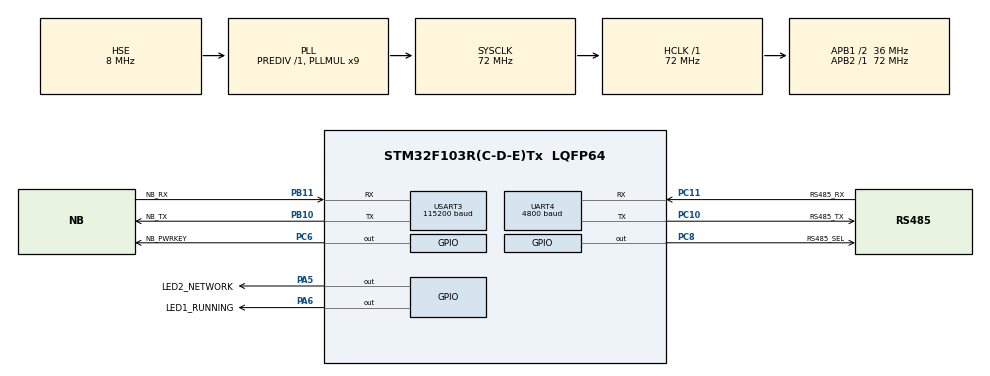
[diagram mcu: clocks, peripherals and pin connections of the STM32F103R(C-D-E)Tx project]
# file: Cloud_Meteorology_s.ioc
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Dma.Request0=UART4_RX
Dma.Request1=UART4_TX
Dma.Request2=USART3_RX
Dma.Request3=USART3_TX
Dma.UART4_RX.0.Direction=DMA_PERIPH_TO_MEMORY
Dma.UART4_RX.0.Instance=DMA2_Channel3
Dma.UART4_RX.0.MemDataAlignment=DMA_MDATAALIGN_BYTE
Dma.UART4_RX.0.MemInc=DMA_MINC_ENABLE
Dma.UART4_RX.0.Mode=DMA_CIRCULAR
Dma.UART4_RX.0.PeriphDataAlignment=DMA_PDATAALIGN_BYTE
Dma.UART4_RX.0.PeriphInc=DMA_PINC_DISABLE
Dma.UART4_RX.0.Priority=DMA_PRIORITY_LOW
Dma.UART4_TX.1.Direction=DMA_MEMORY_TO_PERIPH
Dma.UART4_TX.1.Instance=DMA2_Channel5
Dma.UART4_TX.1.MemDataAlignment=DMA_MDATAALIGN_BYTE
Dma.UART4_TX.1.MemInc=DMA_MINC_ENABLE
Dma.UART4_TX.1.Mode=DMA_NORMAL
Dma.UART4_TX.1.PeriphDataAlignment=DMA_PDATAALIGN_BYTE
Dma.UART4_TX.1.PeriphInc=DMA_PINC_DISABLE
Dma.UART4_TX.1.Priority=DMA_PRIORITY_LOW
Dma.USART3_RX.2.Direction=DMA_PERIPH_TO_MEMORY
Dma.USART3_RX.2.Instance=DMA1_Channel3
Dma.USART3_RX.2.MemDataAlignment=DMA_MDATAALIGN_BYTE
Dma.USART3_RX.2.MemInc=DMA_MINC_ENABLE
Dma.USART3_RX.2.Mode=DMA_CIRCULAR
Dma.USART3_RX.2.PeriphDataAlignment=DMA_PDATAALIGN_BYTE
Dma.USART3_RX.2.PeriphInc=DMA_PINC_DISABLE
Dma.USART3_RX.2.Priority=DMA_PRIORITY_LOW
Dma.USART3_TX.3.Direction=DMA_MEMORY_TO_PERIPH
Dma.USART3_TX.3.Instance=DMA1_Channel2
Dma.USART3_TX.3.MemDataAlignment=DMA_MDATAALIGN_BYTE
Dma.USART3_TX.3.MemInc=DMA_MINC_ENABLE
Dma.USART3_TX.3.Mode=DMA_NORMAL
Dma.USART3_TX.3.PeriphDataAlignment=DMA_PDATAALIGN_BYTE
Dma.USART3_TX.3.PeriphInc=DMA_PINC_DISABLE
Dma.USART3_TX.3.Priority=DMA_PRIORITY_LOW
IWDG.Prescaler=IWDG_PRESCALER_256
IWDG.Reload=4000
Mcu.Family=STM32F1
Mcu.Name=STM32F103R(C-D-E)Tx
Mcu.Package=LQFP64
NVIC.DMA1_Channel2_IRQn=true\:0\:0\:false\:false\:true\:false\:true
NVIC.DMA1_Channel3_IRQn=true\:0\:0\:false\:false\:true\:false\:true
NVIC.DMA2_Channel3_IRQn=true\:0\:0\:false\:false\:true\:false\:true
NVIC.DMA2_Channel4_5_IRQn=true\:0\:0\:false\:false\:true\:false\:true
NVIC.PriorityGroup=NVIC_PRIORITYGROUP_4
NVIC.TIM3_IRQn=true\:0\:0\:false\:false\:true\:true\:true
NVIC.TIM5_IRQn=true\:0\:0\:true\:false\:true\:true\:true
NVIC.UART4_IRQn=true\:0\:0\:false\:false\:true\:true\:true
NVIC.USART3_IRQn=true\:0\:0\:false\:false\:true\:true\:true
PA13.Mode=Serial_Wire
PA13.Signal=SYS_JTMS-SWDIO
PA14.Mode=Serial_Wire
PA14.Signal=SYS_JTCK-SWCLK
PA5.GPIO_Label=LED2_NETWORK
PA5.Signal=GPIO_Output
PA6.GPIO_Label=LED1_RUNNING
PA6.Signal=GPIO_Output
PB10.GPIO_Label=NB_TX
PB10.Mode=Asynchronous
PB10.Signal=USART3_TX
PB11.GPIO_Label=NB_RX
PB11.Mode=Asynchronous
PB11.Signal=USART3_RX
PC10.GPIO_Label=RS485_TX
PC10.Mode=Asynchronous
PC10.Signal=UART4_TX
PC11.GPIO_Label=RS485_RX
PC11.Mode=Asynchronous
PC11.Signal=UART4_RX
PC14-OSC32_IN.Mode=LSE-External-Oscillator
PC14-OSC32_IN.Signal=RCC_OSC32_IN
PC15-OSC32_OUT.Mode=LSE-External-Oscillator
PC15-OSC32_OUT.Signal=RCC_OSC32_OUT
PC6.GPIO_Label=NB_PWRKEY
PC6.Signal=GPIO_Output
PC8.GPIO_Label=RS485_SEL
PC8.Signal=GPIO_Output
PD0-OSC_IN.Mode=HSE-External-Oscillator
PD0-OSC_IN.Signal=RCC_OSC_IN
PD1-OSC_OUT.Mode=HSE-External-Oscillator
PD1-OSC_OUT.Signal=RCC_OSC_OUT
ProjectManager.HeapSize=0x200
ProjectManager.StackSize=0x400
ProjectManager.TargetToolchain=TrueSTUDIO
RCC.ADCPresc=RCC_ADCPCLK2_DIV6
RCC.AHBFreq_Value=72000000
RCC.APB1CLKDivider=RCC_HCLK_DIV2
RCC.APB1Freq_Value=36000000
RCC.APB1TimFreq_Value=72000000
RCC.APB2Freq_Value=72000000
RCC.APB2TimFreq_Value=72000000
RCC.HCLKFreq_Value=72000000
RCC.PLLMUL=RCC_PLL_MUL9
RCC.PLLSourceVirtual=RCC_PLLSOURCE_HSE
RCC.RTCClockSelection=RCC_RTCCLKSOURCE_LSE
RCC.SYSCLKFreq_VALUE=72000000
RCC.SYSCLKSource=RCC_SYSCLKSOURCE_PLLCLK
RCC.USBFreq_Value=72000000
RTC.Date=1
RTC.Hours=13
RTC.Minutes=40
RTC.Month=RTC_MONTH_JUNE
RTC.WeekDay=RTC_WEEKDAY_TUESDAY
RTC.Year=20
TIM2.Period=2-1
TIM2.Prescaler=72-1
TIM3.Period=10000-1
TIM3.Prescaler=7200-1
TIM5.AutoReloadPreload=TIM_AUTORELOAD_PRELOAD_DISABLE
TIM5.Period=50000-1
TIM5.Prescaler=7200-1
UART4.BaudRate=4800
UART4.VirtualMode=Asynchronous
USART3.BaudRate=115200
USART3.VirtualMode=VM_ASYNC
VP_IWDG_VS_IWDG.Mode=IWDG_Activate
VP_RTC_No_RTC_Output.Mode=RTC_OUT_NO
VP_RTC_VS_RTC_Activate.Mode=RTC_Enabled
VP_RTC_VS_RTC_Calendar.Mode=RTC_Calendar
VP_TIM2_VS_ClockSourceINT.Mode=Internal
VP_TIM3_VS_ClockSourceINT.Mode=Internal
VP_TIM5_VS_ClockSourceINT.Mode=Internal
board=custom

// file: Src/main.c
/* USER CODE BEGIN Header */
/**
  ******************************************************************************
  * @file           : main.c
  * @brief          : Main program body
  ******************************************************************************
  * @attention
  *
  * <h2><center>&copy; Copyright (c) 2019 STMicroelectronics.
  * All rights reserved.</center></h2>
  *
  * This software component is licensed by ST under BSD 3-Clause license,
  * the "License"; You may not use this file except in compliance with the
  * License. You may obtain a copy of the License at:
  *                        opensource.org/licenses/BSD-3-Clause
  *
  ******************************************************************************
  */
/* USER CODE END Header */

#include "main.h"
#include "dma.h"
#include "iwdg.h"
#include "rtc.h"
#include "tim.h"
#include "usart.h"
#include "gpio.h"

/* USER CODE BEGIN Includes */

#include "Led.h"
#include "NBiotTask.h"
#include "RS485Task.h"
#include "Package.h"
#include "ResetTask.h"

/* USER CODE END Includes */

void SystemClock_Config(void);

int main(void)
{

  /* MCU Configuration--------------------------------------------------------*/

  /* Reset of all peripherals, Initializes the Flash interface and the Systick. */
  HAL_Init();

  /* Configure the system clock */
  SystemClock_Config();

  /* Initialize all configured peripherals */
  MX_GPIO_Init();
  MX_DMA_Init();
  MX_UART4_Init();
  MX_USART3_UART_Init();
  MX_TIM5_Init();
  MX_TIM2_Init();
  MX_IWDG_Init();
  MX_TIM3_Init();
  MX_RTC_Init();
  /* USER CODE BEGIN 2 */

  My_RTC_Init();

  HAL_IWDG_Init(&hiwdg);                //初始化并开启iwdg
  HAL_TIM_Base_Start_IT(&htim3);        //使能定时器3中断，1s进入一次，
  HAL_TIM_Base_Start_IT(&htim5);        //使能定时器5中断，5s进入一次，控制读取传感器数值频率

  //串口空闲中断初始化
  UART_IT_IDLE_InitAll();

  //485芯片初始化接收
  RS485Uart_RX_TX_Switch(RECEIVE);    //485接收打开，发送截止

  //NB模组初始化
  NBiot_Init();

  /* USER CODE END 2 */

  /* Infinite loop */
  while (1)
  {

    /* USER CODE BEGIN 3 */

	RS485_Task();
	NBiot_Task();
	Reset_Task();

	HAL_IWDG_Refresh(&hiwdg);     //喂狗，即重新加载计数值
  }
  /* USER CODE END 3 */
}

void SystemClock_Config(void)
{
  RCC_OscInitTypeDef RCC_OscInitStruct = {0};
  RCC_ClkInitTypeDef RCC_ClkInitStruct = {0};
  RCC_PeriphCLKInitTypeDef PeriphClkInit = {0};

  /** Initializes the CPU, AHB and APB busses clocks
  */
  RCC_OscInitStruct.OscillatorType = RCC_OSCILLATORTYPE_LSI|RCC_OSCILLATORTYPE_HSE
                              |RCC_OSCILLATORTYPE_LSE;
  RCC_OscInitStruct.HSEState = RCC_HSE_ON;
  RCC_OscInitStruct.HSEPredivValue = RCC_HSE_PREDIV_DIV1;
  RCC_OscInitStruct.LSEState = RCC_LSE_ON;
  RCC_OscInitStruct.HSIState = RCC_HSI_ON;
  RCC_OscInitStruct.LSIState = RCC_LSI_ON;
  RCC_OscInitStruct.PLL.PLLState = RCC_PLL_ON;
  RCC_OscInitStruct.PLL.PLLSource = RCC_PLLSOURCE_HSE;
  RCC_OscInitStruct.PLL.PLLMUL = RCC_PLL_MUL9;
  if (HAL_RCC_OscConfig(&RCC_OscInitStruct) != HAL_OK)
  {
    Error_Handler();
  }
  /** Initializes the CPU, AHB and APB busses clocks
  */
  RCC_ClkInitStruct.ClockType = RCC_CLOCKTYPE_HCLK|RCC_CLOCKTYPE_SYSCLK
                              |RCC_CLOCKTYPE_PCLK1|RCC_CLOCKTYPE_PCLK2;
  RCC_ClkInitStruct.SYSCLKSource = RCC_SYSCLKSOURCE_PLLCLK;
  RCC_ClkInitStruct.AHBCLKDivider = RCC_SYSCLK_DIV1;
  RCC_ClkInitStruct.APB1CLKDivider = RCC_HCLK_DIV2;
  RCC_ClkInitStruct.APB2CLKDivider = RCC_HCLK_DIV1;

  if (HAL_RCC_ClockConfig(&RCC_ClkInitStruct, FLASH_LATENCY_2) != HAL_OK)
  {
    Error_Handler();
  }
  PeriphClkInit.PeriphClockSelection = RCC_PERIPHCLK_RTC;
  PeriphClkInit.RTCClockSelection = RCC_RTCCLKSOURCE_LSE;
  if (HAL_RCCEx_PeriphCLKConfig(&PeriphClkInit) != HAL_OK)
  {
    Error_Handler();
  }
}

/* USER CODE BEGIN 4 */

/*软件复位*/
void McuReset(void)
{
//	__disable_fault_irq();
    __set_FAULTMASK(1);           // 关闭所有中断
    HAL_NVIC_SystemReset();
}

/* USER CODE END 4 */

void Error_Handler(void)
{
}

/************************ (C) COPYRIGHT STMicroelectronics *****END OF FILE****/
